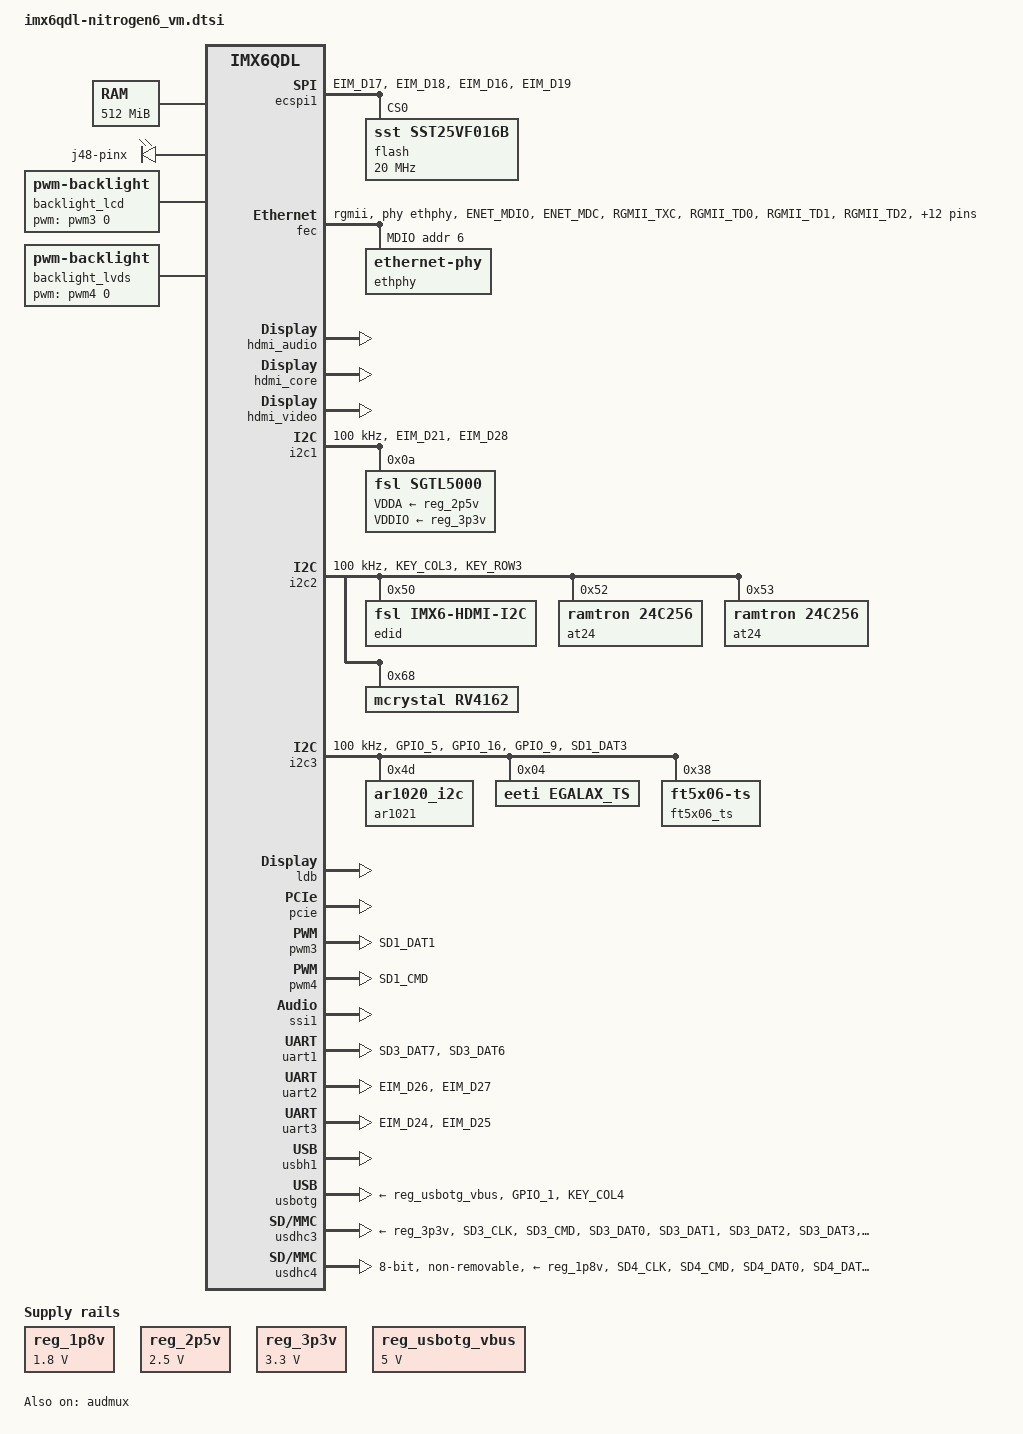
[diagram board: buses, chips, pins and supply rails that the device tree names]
/*
 * Copyright 2014 Boundary Devices
 * Copyright 2012 Freescale Semiconductor, Inc.
 * Copyright 2011 Linaro Ltd.
 *
 * The code contained herein is licensed under the GNU General Public
 * License. You may obtain a copy of the GNU General Public License
 * Version 2 or later at the following locations:
 *
 * http://www.opensource.org/licenses/gpl-license.html
 * http://www.gnu.org/copyleft/gpl.html
 */
#include <dt-bindings/gpio/gpio.h>
#include <dt-bindings/input/input.h>

&iomuxc {
	pinctrl-names = "default";
	pinctrl-0 = <&pinctrl_hog>;

	iomuxc_imx6q_nitrogen6_vm: iomuxc-imx6q-nitrogen6_vmgrp {
		status = "okay";
	};
};

&iomuxc_imx6q_nitrogen6_vm {
	pinctrl_hog: hoggrp {
		fsl,pins = <
#define GP_VM_GPIO_1			<&gpio4 6 GPIO_ACTIVE_LOW>
			MX6QDL_PAD_KEY_COL0__GPIO4_IO06		0x0b0b0
#define GP_VM_GPIO_2			<&gpio4 7 GPIO_ACTIVE_LOW>
			MX6QDL_PAD_KEY_ROW0__GPIO4_IO07		0x0b0b0
#define GP_VM_GPIO_3			<&gpio4 8 GPIO_ACTIVE_LOW>
			MX6QDL_PAD_KEY_COL1__GPIO4_IO08		0x0b0b0
#define GP_VM_GPIO_4			<&gpio4 9 GPIO_ACTIVE_LOW>
			MX6QDL_PAD_KEY_ROW1__GPIO4_IO09		0x0b0b0
#define GP_VM_GPIO_5			<&gpio4 10 GPIO_ACTIVE_LOW>
			MX6QDL_PAD_KEY_COL2__GPIO4_IO10		0x0b0b0
#define GP_VM_GPIO_6			<&gpio4 11 GPIO_ACTIVE_LOW>
			MX6QDL_PAD_KEY_ROW2__GPIO4_IO11		0x0b0b0
#define GP_VM_GPIO_7			<&gpio4 15 GPIO_ACTIVE_LOW>
			MX6QDL_PAD_KEY_ROW4__GPIO4_IO15		0x0b0b0
#define GP_VM_GPIO_8			<&gpio1 4 GPIO_ACTIVE_LOW>
			MX6QDL_PAD_GPIO_4__GPIO1_IO04		0x1b0b0
		>;
	};

	pinctrl_audmux3: audmux3grp {
		fsl,pins = <
			MX6QDL_PAD_CSI0_DAT7__AUD3_RXD		0x130b0
			MX6QDL_PAD_CSI0_DAT4__AUD3_TXC		0x130b0
			MX6QDL_PAD_CSI0_DAT5__AUD3_TXD		0x110b0
			MX6QDL_PAD_CSI0_DAT6__AUD3_TXFS		0x130b0
		>;
	};

	pinctrl_ecspi1: ecspi1grp {
		fsl,pins = <
			MX6QDL_PAD_EIM_D17__ECSPI1_MISO		0x100b1
			MX6QDL_PAD_EIM_D18__ECSPI1_MOSI		0x100b1
			MX6QDL_PAD_EIM_D16__ECSPI1_SCLK		0x100b1
#define GP_ECSPI1_NOR_CS		<&gpio3 19 GPIO_ACTIVE_LOW>
			MX6QDL_PAD_EIM_D19__GPIO3_IO19		0x000b1
		>;
	};

	pinctrl_enet: enetgrp {
		fsl,pins = <
			MX6QDL_PAD_ENET_MDIO__ENET_MDIO		0x1b0b0
			MX6QDL_PAD_ENET_MDC__ENET_MDC		0x1b0b0
			MX6QDL_PAD_RGMII_TXC__RGMII_TXC		0x100b0
			MX6QDL_PAD_RGMII_TD0__RGMII_TD0		0x100b0
			MX6QDL_PAD_RGMII_TD1__RGMII_TD1		0x100b0
			MX6QDL_PAD_RGMII_TD2__RGMII_TD2		0x100b0
			MX6QDL_PAD_RGMII_TD3__RGMII_TD3		0x100b0
			MX6QDL_PAD_RGMII_TX_CTL__RGMII_TX_CTL	0x100b0
			MX6QDL_PAD_ENET_REF_CLK__ENET_TX_CLK	0x100b0
			MX6QDL_PAD_RGMII_RXC__RGMII_RXC		0x1b0b0
			MX6QDL_PAD_RGMII_RD0__RGMII_RD0		0x1b0b0
			MX6QDL_PAD_RGMII_RD1__RGMII_RD1		0x1b0b0
			MX6QDL_PAD_RGMII_RD2__RGMII_RD2		0x1b0b0
			MX6QDL_PAD_RGMII_RD3__RGMII_RD3		0x1b0b0
			MX6QDL_PAD_RGMII_RX_CTL__RGMII_RX_CTL	0x1b0b0
#define GP_ENET_PHY_RESET		<&gpio1 27 GPIO_ACTIVE_LOW>
			MX6QDL_PAD_ENET_RXD0__GPIO1_IO27	0x030b0
#define GPIRQ_ENET_PHY			<&gpio1 28 IRQ_TYPE_LEVEL_LOW>
			MX6QDL_PAD_ENET_TX_EN__GPIO1_IO28	0x1b0b0
#define GPIRQ_ENET		<&gpio1 6 IRQ_TYPE_LEVEL_HIGH>
			MX6QDL_PAD_GPIO_6__ENET_IRQ		0x000b1
		>;
	};

	pinctrl_i2c1: i2c1grp {
		fsl,pins = <
			MX6QDL_PAD_EIM_D21__I2C1_SCL		0x4001b8b1
			MX6QDL_PAD_EIM_D28__I2C1_SDA		0x4001b8b1
		>;
	};

	pinctrl_i2c1_sgtl5000: i2c1-sgtl5000grp {
		fsl,pins = <
			MX6QDL_PAD_GPIO_0__CCM_CLKO1		0x000b0		/* sys_mclk */
#define GP_SGTL5000_HP_MUTE		<&gpio5 4 GPIO_ACTIVE_LOW>
			MX6QDL_PAD_EIM_A24__GPIO5_IO04		0x030b0
		>;
	};

	pinctrl_i2c2: i2c2grp {
		fsl,pins = <
			MX6QDL_PAD_KEY_COL3__I2C2_SCL		0x4001b8b1
			MX6QDL_PAD_KEY_ROW3__I2C2_SDA		0x4001b8b1
		>;
	};

	pinctrl_i2c2_rv4162: i2c2-rv4162grp {
		fsl,pins = <
#define GPIRQ_RTC_RV4162			<&gpio2 26 IRQ_TYPE_LEVEL_LOW>
			MX6QDL_PAD_EIM_RW__GPIO2_IO26		0x1b0b0
		>;
	};

	pinctrl_i2c3: i2c3grp {
		fsl,pins = <
			MX6QDL_PAD_GPIO_5__I2C3_SCL		0x4001b8b1
			MX6QDL_PAD_GPIO_16__I2C3_SDA		0x4001b8b1
#define GPIRQ_PCAP_TOUCH	<&gpio1 9 IRQ_TYPE_LEVEL_LOW>
			MX6QDL_PAD_GPIO_9__GPIO1_IO09		0x1b0b0		/* J40 pin 4 - I2C3 and J57 pin 4 */
#define PCAP_RESETN	<&gpio1 21 GPIO_ACTIVE_LOW>
			MX6QDL_PAD_SD1_DAT3__GPIO1_IO21		0x1b0b0		/* J40 pin 3 */
		>;
	};

	pinctrl_i2c3_ar1021: i2c3-ar1021grp {
		fsl,pins = <
#define GPIRQ_AR1021			<&gpio1 2 IRQ_TYPE_LEVEL_HIGH>
#define GP_AR1021			<&gpio1 2 GPIO_ACTIVE_HIGH>
			MX6QDL_PAD_GPIO_2__GPIO1_IO02		0x130b0
#define GP_AR1021_5_WIRE_SEL		<&gpio7 13 GPIO_ACTIVE_HIGH>
			MX6QDL_PAD_GPIO_18__GPIO7_IO13		0x1b0b0
		>;
	};

	pinctrl_ipu1_di0: ipu1_di0grp {
		fsl,pins = <
			MX6QDL_PAD_DI0_DISP_CLK__IPU1_DI0_DISP_CLK 0x10
			MX6QDL_PAD_DI0_PIN15__IPU1_DI0_PIN15       0x10		/* DRDY */
			MX6QDL_PAD_DI0_PIN2__IPU1_DI0_PIN02        0x10		/* HSYNC */
			MX6QDL_PAD_DI0_PIN3__IPU1_DI0_PIN03        0x10		/* VSYNC */
			MX6QDL_PAD_DI0_PIN4__IPU1_DI0_PIN04        0x10		/* Contrast */
			MX6QDL_PAD_DISP0_DAT0__IPU1_DISP0_DATA00   0x10
			MX6QDL_PAD_DISP0_DAT1__IPU1_DISP0_DATA01   0x10
			MX6QDL_PAD_DISP0_DAT2__IPU1_DISP0_DATA02   0x10
			MX6QDL_PAD_DISP0_DAT3__IPU1_DISP0_DATA03   0x10
			MX6QDL_PAD_DISP0_DAT4__IPU1_DISP0_DATA04   0x10
			MX6QDL_PAD_DISP0_DAT5__IPU1_DISP0_DATA05   0x10
			MX6QDL_PAD_DISP0_DAT6__IPU1_DISP0_DATA06   0x10
			MX6QDL_PAD_DISP0_DAT7__IPU1_DISP0_DATA07   0x10
			MX6QDL_PAD_DISP0_DAT8__IPU1_DISP0_DATA08   0x10
			MX6QDL_PAD_DISP0_DAT9__IPU1_DISP0_DATA09   0x10
			MX6QDL_PAD_DISP0_DAT10__IPU1_DISP0_DATA10  0x10
			MX6QDL_PAD_DISP0_DAT11__IPU1_DISP0_DATA11  0x10
			MX6QDL_PAD_DISP0_DAT12__IPU1_DISP0_DATA12  0x10
			MX6QDL_PAD_DISP0_DAT13__IPU1_DISP0_DATA13  0x10
			MX6QDL_PAD_DISP0_DAT14__IPU1_DISP0_DATA14  0x10
			MX6QDL_PAD_DISP0_DAT15__IPU1_DISP0_DATA15  0x10
			MX6QDL_PAD_DISP0_DAT16__IPU1_DISP0_DATA16  0x10
			MX6QDL_PAD_DISP0_DAT17__IPU1_DISP0_DATA17  0x10
			MX6QDL_PAD_DISP0_DAT18__IPU1_DISP0_DATA18  0x10
			MX6QDL_PAD_DISP0_DAT19__IPU1_DISP0_DATA19  0x10
			MX6QDL_PAD_DISP0_DAT20__IPU1_DISP0_DATA20  0x10
			MX6QDL_PAD_DISP0_DAT21__IPU1_DISP0_DATA21  0x10
			MX6QDL_PAD_DISP0_DAT22__IPU1_DISP0_DATA22  0x10
			MX6QDL_PAD_DISP0_DAT23__IPU1_DISP0_DATA23  0x10
		>;
	};

	pinctrl_ipu1_lvds: ipu1_lvdsgrp {
		fsl,pins = <
			MX6QDL_PAD_GPIO_17__GPIO7_IO12		0x1b0b0		/* J39 - pin 19, DISP0_CONTRAST */
		>;
	};

	pinctrl_leds: ledsgrp {
		fsl,pins = <
#define GP_LED_1			<&gpio1 7 GPIO_ACTIVE_LOW>
			MX6QDL_PAD_GPIO_7__GPIO1_IO07		0x1b0b0		/* Not used, keeps group from being empty */
		>;
	};

	pinctrl_pwm3: pwm3grp {
		fsl,pins = <
			MX6QDL_PAD_SD1_DAT1__PWM3_OUT		0x0b0b0
		>;
	};

	pinctrl_pwm4: pwm4grp {
		fsl,pins = <
			MX6QDL_PAD_SD1_CMD__PWM4_OUT		0x0b0b0
		>;
	};

	pinctrl_uart1: uart1grp {
		fsl,pins = <
			MX6QDL_PAD_SD3_DAT7__UART1_TX_DATA	0x1b0b1
			MX6QDL_PAD_SD3_DAT6__UART1_RX_DATA	0x1b0b1
		>;
	};

	pinctrl_uart2: uart2grp {
		fsl,pins = <
			MX6QDL_PAD_EIM_D26__UART2_TX_DATA	0x1b0b1
			MX6QDL_PAD_EIM_D27__UART2_RX_DATA	0x1b0b1
		>;
	};

	pinctrl_uart3: uart3grp {
		fsl,pins = <
			MX6QDL_PAD_EIM_D24__UART3_TX_DATA	0x1b0b1
			MX6QDL_PAD_EIM_D25__UART3_RX_DATA	0x1b0b1
		>;
	};

	pinctrl_usbotg: usbotggrp {
		fsl,pins = <
			MX6QDL_PAD_GPIO_1__USB_OTG_ID		0x17059
			MX6QDL_PAD_KEY_COL4__USB_OTG_OC		0x1b0b0
		>;
	};

	pinctrl_usbotg_vbus: usbotg_vbusgrp {
		fsl,pins = <
			/* power enable, high active */
#define GP_USB_OTG_PWR		<&gpio3 22 GPIO_ACTIVE_HIGH>
			MX6QDL_PAD_EIM_D22__GPIO3_IO22		0x000b0
		>;
	};

	/* USDHC3 - FULL sd */
	pinctrl_usdhc3_50mhz: usdhc3_50mhzgrp {
		fsl,pins = <
			MX6QDL_PAD_SD3_CLK__SD3_CLK		0x10071
			MX6QDL_PAD_SD3_CMD__SD3_CMD		0x17071
			MX6QDL_PAD_SD3_DAT0__SD3_DATA0		0x17071
			MX6QDL_PAD_SD3_DAT1__SD3_DATA1		0x17071
			MX6QDL_PAD_SD3_DAT2__SD3_DATA2		0x17071
			MX6QDL_PAD_SD3_DAT3__SD3_DATA3		0x17071
#define GP_SD3_CD			<&gpio7 0 GPIO_ACTIVE_LOW>
			MX6QDL_PAD_SD3_DAT5__GPIO7_IO00		0x1b0b0
#define GP_SD3_WP			<&gpio7 1 GPIO_ACTIVE_LOW>
			MX6QDL_PAD_SD3_DAT4__GPIO7_IO01		0x1b0b0
		>;
	};

	pinctrl_usdhc3_100mhz: usdhc3_100mhzgrp {
		fsl,pins = <
			MX6QDL_PAD_SD3_CLK__SD3_CLK		0x100b9
			MX6QDL_PAD_SD3_CMD__SD3_CMD		0x170b9
			MX6QDL_PAD_SD3_DAT0__SD3_DATA0		0x170b9
			MX6QDL_PAD_SD3_DAT1__SD3_DATA1		0x170b9
			MX6QDL_PAD_SD3_DAT2__SD3_DATA2		0x170b9
			MX6QDL_PAD_SD3_DAT3__SD3_DATA3		0x170b9
		>;
	};

	pinctrl_usdhc3_200mhz: usdhc3_200mhzgrp {
		fsl,pins = <
			MX6QDL_PAD_SD3_CLK__SD3_CLK		0x100f9
			MX6QDL_PAD_SD3_CMD__SD3_CMD		0x170f9
			MX6QDL_PAD_SD3_DAT0__SD3_DATA0		0x170f9
			MX6QDL_PAD_SD3_DAT1__SD3_DATA1		0x170f9
			MX6QDL_PAD_SD3_DAT2__SD3_DATA2		0x170f9
			MX6QDL_PAD_SD3_DAT3__SD3_DATA3		0x170f9
		>;
	};

	pinctrl_usdhc4_50mhz: usdhc4_50mhzgrp {
		fsl,pins = <
			MX6QDL_PAD_SD4_CLK__SD4_CLK		0x10031
			MX6QDL_PAD_SD4_CMD__SD4_CMD		0x17031
			MX6QDL_PAD_SD4_DAT0__SD4_DATA0		0x17031
			MX6QDL_PAD_SD4_DAT1__SD4_DATA1		0x17031
			MX6QDL_PAD_SD4_DAT2__SD4_DATA2		0x17031
			MX6QDL_PAD_SD4_DAT3__SD4_DATA3		0x17031
			MX6QDL_PAD_SD4_DAT4__SD4_DATA4		0x17031
			MX6QDL_PAD_SD4_DAT5__SD4_DATA5		0x17031
			MX6QDL_PAD_SD4_DAT6__SD4_DATA6		0x17031
			MX6QDL_PAD_SD4_DAT7__SD4_DATA7		0x17031
#define GP_EMMC_RESET	<&gpio2 7 GPIO_ACTIVE_LOW>
			MX6QDL_PAD_NANDF_D7__GPIO2_IO07		0x1b0b0
		>;
	};

	pinctrl_usdhc4_100mhz: usdhc4_100mhzgrp {
		fsl,pins = <
			MX6QDL_PAD_SD4_CLK__SD4_CLK		0x100b9
			MX6QDL_PAD_SD4_CMD__SD4_CMD		0x170b9
			MX6QDL_PAD_SD4_DAT0__SD4_DATA0		0x170b9
			MX6QDL_PAD_SD4_DAT1__SD4_DATA1		0x170b9
			MX6QDL_PAD_SD4_DAT2__SD4_DATA2		0x170b9
			MX6QDL_PAD_SD4_DAT3__SD4_DATA3		0x170b9
			MX6QDL_PAD_SD4_DAT4__SD4_DATA4		0x170b9
			MX6QDL_PAD_SD4_DAT5__SD4_DATA5		0x170b9
			MX6QDL_PAD_SD4_DAT6__SD4_DATA6		0x170b9
			MX6QDL_PAD_SD4_DAT7__SD4_DATA7		0x170b9
		>;
	};

	pinctrl_usdhc4_200mhz: usdhc4_200mhzgrp {
		fsl,pins = <
			MX6QDL_PAD_SD4_CLK__SD4_CLK		0x100f9
			MX6QDL_PAD_SD4_CMD__SD4_CMD		0x170f9
			MX6QDL_PAD_SD4_DAT0__SD4_DATA0		0x170f9
			MX6QDL_PAD_SD4_DAT1__SD4_DATA1		0x170f9
			MX6QDL_PAD_SD4_DAT2__SD4_DATA2		0x170f9
			MX6QDL_PAD_SD4_DAT3__SD4_DATA3		0x170f9
			MX6QDL_PAD_SD4_DAT4__SD4_DATA4		0x170f9
			MX6QDL_PAD_SD4_DAT5__SD4_DATA5		0x170f9
			MX6QDL_PAD_SD4_DAT6__SD4_DATA6		0x170f9
			MX6QDL_PAD_SD4_DAT7__SD4_DATA7		0x170f9
		>;
	};
};

/ {
	aliases {
		backlight_lcd = &backlight_lcd;
		backlight_lvds = &backlight_lvds;
		fb_hdmi = &fb_hdmi;
		fb_lcd = &fb_lcd;
		fb_lvds = &fb_lvds;
		lcd = &lcd;
		ldb = &ldb;
		mmc0 = &usdhc3;
		mmc1 = &usdhc4;
		mxcfb0 = &fb_lcd;
		mxcfb1 = &fb_hdmi;
		mxcfb2 = &fb_lvds;
		pwm_lcd = &pwm3;
		pwm_lvds = &pwm4;
		t_lvds = &t_lvds;
	};

	memory {
		reg = <0x10000000 0x20000000>;
	};

	leds: leds {
		compatible = "gpio-leds";
	};

	regulators {
		compatible = "simple-bus";

		reg_1p8v: 1p8v {
			compatible = "regulator-fixed";
			regulator-name = "1P8V";
			regulator-min-microvolt = <1800000>;
			regulator-max-microvolt = <1800000>;
			regulator-always-on;
		};

		reg_2p5v: 2p5v {
			compatible = "regulator-fixed";
			regulator-name = "2P5V";
			regulator-min-microvolt = <2500000>;
			regulator-max-microvolt = <2500000>;
			regulator-always-on;
		};

		reg_3p3v: 3p3v {
			compatible = "regulator-fixed";
			regulator-name = "3P3V";
			regulator-min-microvolt = <3300000>;
			regulator-max-microvolt = <3300000>;
			regulator-always-on;
		};

		reg_usbotg_vbus: usbotg_vbus {
			compatible = "regulator-fixed";
			pinctrl-names = "default";
			pinctrl-0 = <&pinctrl_usbotg_vbus>;
			regulator-name = "usbotg_vbus";
			regulator-min-microvolt = <5000000>;
			regulator-max-microvolt = <5000000>;
			gpio = GP_USB_OTG_PWR;
			enable-active-high;
		};
	};

	magstripe: mag-stripe {
		compatible = "boundary,magdecode";
		data_pin = <&gpio4 6 GPIO_ACTIVE_HIGH>;
		clock_pin = <&gpio4 7 GPIO_ACTIVE_LOW>;
		rear_pin = <&gpio4 8 GPIO_ACTIVE_LOW>;
		front_pin = <&gpio4 9 GPIO_ACTIVE_LOW>;
		status = "disabled";
	};

	sound_sgtl5000 {
		compatible = "fsl,imx6dl-nitrogen6_vm-sgtl5000",
			     "fsl,imx-audio-sgtl5000";
		model = "imx6dl-nitrogen6_vm-sgtl5000";
		ssi-controller = <&ssi1>;
		audio-codec = <&sgtl5000>;
		audio-routing =
			"MIC_IN", "Mic Jack",
			"Mic Jack", "Mic Bias",
			"Headphone Jack", "HP_OUT";
		mux-int-port = <1>;
		mux-ext-port = <3>;
		mute-gpios = GP_SGTL5000_HP_MUTE;
		limit-to-16-bit-samples;
	};

	sound-hdmi {
		compatible = "fsl,imx6dl-audio-hdmi",
			     "fsl,imx-audio-hdmi";
		model = "imx-audio-hdmi";
		hdmi-controller = <&hdmi_audio>;
	};

	fb_lcd: fb@0 {
		compatible = "fsl,mxc_sdc_fb";
		disp_dev = "lcd";
		interface_pix_fmt = "RGB666";
		mode_str ="hitachi_hvga";
		default_bpp = <16>;
		int_clk = <0>;
		late_init = <0>;
		status = "disabled";
	};

	fb_hdmi: fb@1 {
		compatible = "fsl,mxc_sdc_fb";
		disp_dev = "hdmi";
		interface_pix_fmt = "RGB24";
		mode_str ="1280x720M@60";
		default_bpp = <32>;
		int_clk = <0>;
		late_init = <0>;
		status = "disabled";
	};

	fb_lvds: fb@2 {
		compatible = "fsl,mxc_sdc_fb";
		disp_dev = "ldb";
		interface_pix_fmt = "RGB666";
		default_bpp = <16>;
		int_clk = <0>;
		late_init = <0>;
		status = "disabled";
	};

	lcd: lcd@0 {
		compatible = "fsl,lcd";
		ipu_id = <0>;
		disp_id = <0>;
		default_ifmt = "RGB565";
		pinctrl-names = "default";
		pinctrl-0 = <&pinctrl_ipu1_di0>;
		status = "okay";
	};

	backlight_lcd: backlight_lcd {
		brightness-levels = <0 10 20 30 40 50 60 70 80 90 100>;
		compatible = "pwm-backlight";
		default-brightness-level = <10>;
		display = <&fb_lcd>;
		pwms = <&pwm3 0 5000000>;
	};

	backlight_lvds: backlight_lvds {
		brightness-levels = <0 10 20 30 40 50 60 70 80 90 100>;
		compatible = "pwm-backlight";
		default-brightness-level = <10>;
		display = <&fb_lvds>;
		pwms = <&pwm4 0 5000000>;
	};

	v4l2_out {
		compatible = "fsl,mxc_v4l2_output";
		status = "okay";
	};
};

&audmux {
	pinctrl-names = "default";
	pinctrl-0 = <&pinctrl_audmux3>;
	status = "okay";
};

&ecspi1 {
	fsl,spi-num-chipselects = <1>;
	cs-gpios = GP_ECSPI1_NOR_CS;
	pinctrl-names = "default";
	pinctrl-0 = <&pinctrl_ecspi1>;
	status = "okay";

	flash: m25p80@0 {
		compatible = "sst,sst25vf016b";
		spi-max-frequency = <20000000>;
		reg = <0>;
		#address-cells = <1>;
		#size-cells = <1>;
		mtd@00000000 {
			label = "U-Boot";
			reg = <0x0 0xC0000>;
		};

		mtd@000C0000 {
			label = "env";
			reg = <0xC0000 0x2000>;
		};
		mtd@000C2000 {
			label = "splash";
			reg = <0xC2000 0x13e000>;
		};
	};
};

&fec {
	interrupts-extended = GPIRQ_ENET,
			      <&intc 0 119 IRQ_TYPE_LEVEL_HIGH>;
	phy-handle = <&ethphy>;
	phy-mode = "rgmii";
#if 0
	phy-reset-gpios = GP_ENET_PHY_RESET;
#endif
	pinctrl-names = "default";
	pinctrl-0 = <&pinctrl_enet>;
	status = "okay";

	mdio {
		#address-cells = <0>;
		#size-cells = <1>;

		ethphy: ethernet-phy@6 {
			reg = <6>;
			interrupts-extended = GPIRQ_ENET_PHY;
		};
	};
};

&hdmi_audio {
	status = "okay";
};

&hdmi_core {
	ipu_id = <0>;
	disp_id = <1>;
	status = "okay";
};

&hdmi_video {
	fsl,phy_reg_vlev = <0x0294>;
	fsl,phy_reg_cksymtx = <0x800d>;
	status = "okay";
};

&i2c1 {
	clock-frequency = <100000>;
	pinctrl-names = "default";
	pinctrl-0 = <&pinctrl_i2c1>;
	status = "okay";

	sgtl5000: sgtl5000@0a {
		compatible = "fsl,sgtl5000";
		pinctrl-names = "default";
		pinctrl-0 = <&pinctrl_i2c1_sgtl5000>;
		reg = <0x0a>;
		clocks = <&clks IMX6QDL_CLK_CKO>;
		VDDA-supply = <&reg_2p5v>;
		VDDIO-supply = <&reg_3p3v>;
	};
};

&i2c2 {
	clock-frequency = <100000>;
	pinctrl-names = "default";
	pinctrl-0 = <&pinctrl_i2c2>;
	status = "okay";

	edid@50 {
		compatible = "fsl,imx6-hdmi-i2c";
		reg = <0x50>;
	};

	at24@52 {
		compatible = "ramtron,24c256";
		reg = <0x52>;
	};

	at24@53 {
		compatible = "ramtron,24c256";
		reg = <0x53>;
	};

	rv4162@68 {
		compatible = "mcrystal,rv4162";
		pinctrl-names = "default";
		pinctrl-0 = <&pinctrl_i2c2_rv4162>;
		reg = <0x68>;
		interrupts-extended = GPIRQ_RTC_RV4162;
	};
};

&i2c3 {
	clock-frequency = <100000>;
	pinctrl-names = "default";
	pinctrl-0 = <&pinctrl_i2c3>;
	status = "okay";

	ar1021@4d {
		compatible = "ar1020_i2c";
		pinctrl-names = "default";
		pinctrl-0 = <&pinctrl_i2c3_ar1021>;
		reg = <0x4d>;
		interrupts-extended = GPIRQ_AR1021;
		wakeup-gpios = GP_AR1021;
	};

	egalax_ts@04 {
		compatible = "eeti,egalax_ts";
		reg = <0x04>;
		interrupts-extended = GPIRQ_PCAP_TOUCH;
		wakeup-gpios = GPIRQ_PCAP_TOUCH;
	};

	ft5x06_ts@38 {
		compatible = "ft5x06-ts";
		reg = <0x38>;
		interrupts-extended = GPIRQ_PCAP_TOUCH;
		wakeup-gpios = GPIRQ_PCAP_TOUCH;
	};
};

&ldb {
	status = "okay";

	lvds-channel@0 {
		crtc = "ipu1-di1";
		fsl,data-mapping = "spwg";
		fsl,data-width = <18>;
		status = "okay";
		primary;

		display-timings {
			t_lvds: t_lvds_default {
				/* lg1280x800 values may be changed in bootscript */
				clock-frequency = <72000000>;
				hactive = <1280>;
				vactive = <800>;
				hback-porch = <48>;
				hfront-porch = <80>;
				vback-porch = <15>;
				vfront-porch = <2>;
				hsync-len = <32>;
				vsync-len = <6>;
			};
			okaya1024x600: okaya7x0WP {
				clock-frequency = <52000000>;
				hactive = <1024>;
				vactive = <600>;
				hback-porch = <220>;
				hfront-porch = <40>;
				vback-porch = <7>;
				vfront-porch = <21>;
				hsync-len = <60>;
				vsync-len = <10>;
			};
			hannstar: hsd100pxn1 {
				clock-frequency = <65000000>;
				hactive = <1024>;
				vactive = <768>;
				hback-porch = <220>;
				hfront-porch = <40>;
				vback-porch = <21>;
				vfront-porch = <7>;
				hsync-len = <60>;
				vsync-len = <10>;
			};
		};
	};
};

&leds {
	pinctrl-names = "default";
	pinctrl-0 = <&pinctrl_leds>;
	j48-pinx {
		gpios = GP_LED_1;	/* Just a place holder */
		retain-state-suspended;
		default-state = "off";
	};
};

&pcie {
	status = "okay";
};

/* LCD(J58) backlight */
&pwm3 {
	pinctrl-names = "default";
	pinctrl-0 = <&pinctrl_pwm3>;
	status = "okay";
};

/* LVDS(J39) backlight */
&pwm4 {
	pinctrl-names = "default";
	pinctrl-0 = <&pinctrl_pwm4>;
	status = "okay";
};

&ssi1 {
	fsl,mode = "i2s-slave";
	status = "okay";
};

&uart1 {
	pinctrl-names = "default";
	pinctrl-0 = <&pinctrl_uart1>;
	status = "okay";
};

&uart2 {
	pinctrl-names = "default";
	pinctrl-0 = <&pinctrl_uart2>;
	status = "okay";
};

&uart3 {
	pinctrl-names = "default";
	pinctrl-0 = <&pinctrl_uart3>;
	status = "okay";
};

&usbh1 {
	status = "okay";
};

&usbotg {
	vbus-supply = <&reg_usbotg_vbus>;
	pinctrl-names = "default";
	pinctrl-0 = <&pinctrl_usbotg>;
	disable-over-current;
	status = "okay";
};

&usdhc3 {
	pinctrl-names = "default";
	pinctrl-0 = <&pinctrl_usdhc3_50mhz>;
	cd-gpios = GP_SD3_CD;
	wp-gpios = GP_SD3_WP;
	vmmc-supply = <&reg_3p3v>;
	status = "okay";
};

&usdhc4 {
	pinctrl-names = "default";
	pinctrl-0 = <&pinctrl_usdhc4_50mhz>;
	bus-width = <8>;
	non-removable;
	vqmmc-1-8-v;
	vmmc-supply = <&reg_1p8v>;
	keep-power-in-suspend;
	status = "okay";
};
